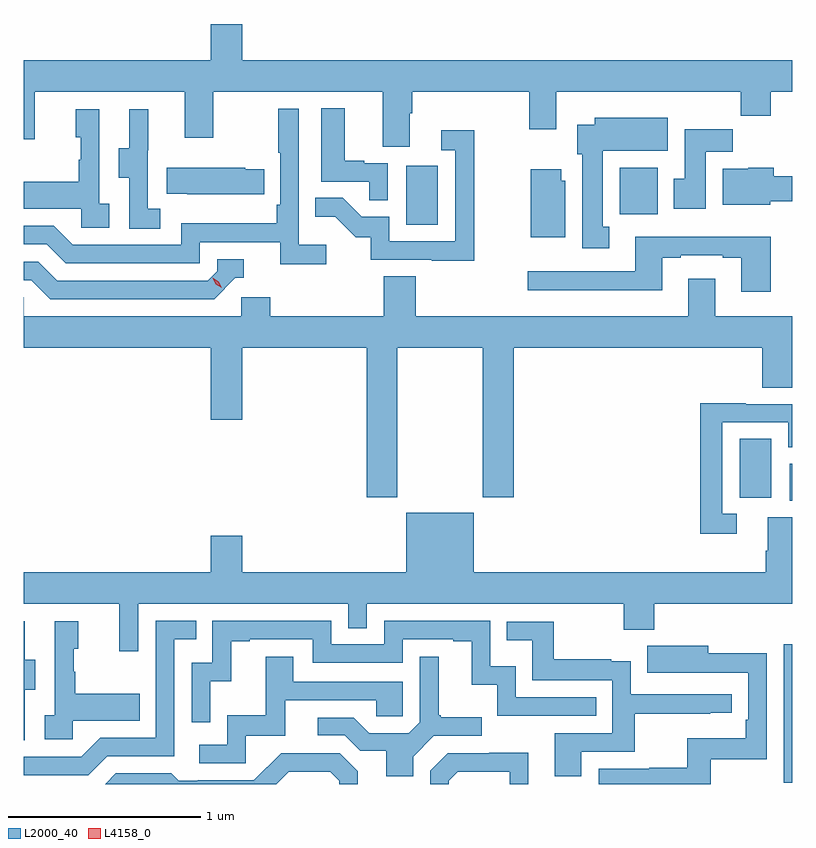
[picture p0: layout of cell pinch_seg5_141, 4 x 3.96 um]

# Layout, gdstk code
import gdstk
lib = gdstk.Library(unit=1e-6, precision=1e-09)
def R(c, l, rs):  # rectangles x0, y0, x1, y1
    for r in rs: c.add(gdstk.rectangle(r[:2], r[2:], *l))
def P(c, l, *ps):  # polygons
    for p in ps: c.add(gdstk.Polygon(p, *l))
L2000_40 = (2000, 40)
L4158_0 = (4158, 0)

pinch_seg5_141 = lib.new_cell('pinch_seg5_141')
R(pinch_seg5_141, L2000_40, [(1019.141,871.812,1019.184,872.533), (1019.172,873.279,1019.184,873.473), (1018.91,873.294,1019.074,873.601), (1017.176,874.716,1017.34,875.023), (1018.286,874.772,1018.483,875.014)])
P(pinch_seg5_141, L2000_40, [(1017.193,875.296),(1017.206,875.296),(1017.206,875.408),(1017.815,875.408),(1017.815,875.214),(1017.955,875.214),(1017.955,875.408),(1018.915,875.408),(1018.915,875.284),(1019.072,875.284),(1019.072,875.408),(1019.184,875.408),(1019.184,875.572),(1016.32,875.572),(1016.32,875.761),(1016.156,875.761),(1016.156,875.572),(1015.184,875.572),(1015.184,875.16),(1015.241,875.16),(1015.241,875.408),(1016.021,875.408),(1016.021,875.169),(1016.169,875.169),(1016.169,875.408),(1017.053,875.408),(1017.053,875.122),(1017.193,875.122)],
  [(1017.078,875.037),(1016.957,875.037),(1016.957,875.05),(1016.854,875.05),(1016.854,875.323),(1016.732,875.323),(1016.732,874.941),(1016.983,874.941),(1016.983,874.843),(1017.078,874.843)],
  [(1016.758,874.612),(1016.616,874.612),(1016.616,875.32),(1016.508,875.32),(1016.508,875.092),(1016.52,875.092),(1016.52,874.819),(1016.5,874.819),(1016.5,874.723),(1016.004,874.723),(1016.004,874.611),(1015.44,874.611),(1015.341,874.71),(1015.184,874.71),(1015.184,874.614),(1015.304,874.614),(1015.403,874.515),(1016.1,874.515),(1016.1,874.626),(1016.519,874.626),(1016.519,874.51),(1016.758,874.51)],
  [(1015.894,874.799),(1015.83,874.799),(1015.83,875.103),(1015.832,875.103),(1015.832,875.317),(1015.733,875.317),(1015.733,875.115),(1015.679,875.115),(1015.679,874.96),(1015.734,874.96),(1015.734,874.696),(1015.894,874.696)],
  [(1015.63,874.826),(1015.578,874.826),(1015.578,875.317),(1015.454,875.317),(1015.454,875.172),(1015.48,875.172),(1015.48,875.054),(1015.47,875.054),(1015.47,874.939),(1015.184,874.939),(1015.184,874.799),(1015.482,874.799),(1015.482,874.701),(1015.63,874.701)],
  [(1018.231,874.706),(1018.198,874.706),(1018.198,875.102),(1018.537,875.102),(1018.537,875.272),(1018.157,875.272),(1018.157,875.236),(1018.064,875.236),(1018.064,875.082),(1018.091,875.082),(1018.091,874.593),(1018.231,874.593)],
  [(1018.735,875.096),(1018.874,875.096),(1018.874,875.214),(1018.625,875.214),(1018.625,874.956),(1018.568,874.956),(1018.568,874.8),(1018.735,874.8)],
  [(1017.53,875.209),(1017.357,875.209),(1017.357,875.103),(1017.429,875.103),(1017.429,874.629),(1017.087,874.629),(1017.087,874.758),(1016.942,874.758),(1016.844,874.856),(1016.701,874.856),(1016.701,874.757),(1016.805,874.757),(1016.912,874.65),(1016.989,874.65),(1016.989,874.533),(1017.307,874.533),(1017.307,874.528),(1017.53,874.528)],
  [(1019.07,874.838),(1019.184,874.838),(1019.184,874.968),(1019.087,874.968),(1019.087,875.014),(1018.956,875.014),(1018.956,875.008),(1018.823,875.008),(1018.823,874.82),(1019.07,874.82)],
  [(1016.435,875.004),(1016.337,875.004),(1016.337,875.014),(1015.927,875.014),(1015.927,874.877),(1016.035,874.877),(1016.035,874.874),(1016.435,874.874)],
  [(1018.003,874.944),(1017.982,874.944),(1017.982,875.005),(1017.824,875.005),(1017.824,874.652),(1018.003,874.652)],
  [(1019.072,874.654),(1018.367,874.654),(1018.367,874.473),(1017.807,874.473),(1017.807,874.376),(1018.507,874.376),(1018.507,874.545),(1018.603,874.545),(1018.603,874.557),(1018.823,874.557),(1018.823,874.545),(1018.919,874.545),(1018.919,874.368),(1019.072,874.368)],
  [(1016.286,874.44),(1016.329,874.44),(1016.329,874.536),(1016.19,874.536),(1016.19,874.473),(1016.142,874.425),(1015.359,874.425),(1015.26,874.524),(1015.184,874.524),(1015.184,874.428),(1015.223,874.428),(1015.322,874.329),(1016.175,874.329)],
  [(1017.129,874.076),(1017.574,874.076),(1017.574,873.297),(1017.734,873.297),(1017.734,874.076),(1019.027,874.076),(1019.027,873.868),(1019.184,873.868),(1019.184,874.24),(1018.783,874.24),(1018.783,874.435),(1018.643,874.435),(1018.643,874.24),(1017.224,874.24),(1017.224,874.448),(1017.059,874.448),(1017.059,874.24),(1016.468,874.24),(1016.468,874.338),(1016.316,874.338),(1016.316,874.24),(1015.185,874.24),(1015.185,874.338),(1015.184,874.338),(1015.184,874.076),(1016.156,874.076),(1016.156,873.702),(1016.32,873.702),(1016.32,874.076),(1016.969,874.076),(1016.969,873.297),(1017.129,873.297)],
  [(1018.894,873.213),(1018.821,873.213),(1018.821,873.687),(1019.163,873.687),(1019.163,873.558),(1019.184,873.558),(1019.184,873.783),(1018.943,873.783),(1018.943,873.788),(1018.705,873.788),(1018.705,873.108),(1018.894,873.108)],
  [(1015.779,872.744),(1016.874,872.744),(1016.874,872.617),(1016.97,872.617),(1016.97,872.744),(1018.306,872.744),(1018.306,872.609),(1018.466,872.609),(1018.466,872.744),(1019.184,872.744),(1019.184,873.194),(1019.057,873.194),(1019.057,873.02),(1019.045,873.02),(1019.045,872.908),(1017.526,872.908),(1017.526,873.217),(1017.176,873.217),(1017.176,872.908),(1016.32,872.908),(1016.32,873.097),(1016.156,873.097),(1016.156,872.908),(1015.184,872.908),(1015.184,872.744),(1015.682,872.744),(1015.682,872.496),(1015.779,872.496)],
  [(1016.154,872.339),(1016.264,872.339),(1016.264,872.547),(1016.359,872.547),(1016.359,872.559),(1016.688,872.559),(1016.688,872.436),(1017.156,872.436),(1017.156,872.559),(1017.419,872.559),(1017.419,872.547),(1017.515,872.547),(1017.515,872.321),(1017.648,872.321),(1017.648,872.16),(1018.163,872.16),(1018.163,872.256),(1017.744,872.256),(1017.744,872.419),(1017.612,872.419),(1017.612,872.655),(1017.06,872.655),(1017.06,872.532),(1016.784,872.532),(1016.784,872.655),(1016.166,872.655),(1016.166,872.436),(1016.058,872.436),(1016.058,872.127),(1016.154,872.127)],
  [(1015.618,871.95),(1015.968,871.95),(1015.968,872.559),(1016.081,872.559),(1016.081,872.655),(1015.872,872.655),(1015.872,872.046),(1015.581,872.046),(1015.482,871.947),(1015.184,871.947),(1015.184,871.851),(1015.519,871.851)],
  [(1015.44,872.135),(1015.787,872.135),(1015.787,872.275),(1015.453,872.275),(1015.453,872.39),(1015.443,872.39),(1015.443,872.508),(1015.468,872.508),(1015.468,872.653),(1015.344,872.653),(1015.344,872.162),(1015.293,872.162),(1015.293,872.037),(1015.44,872.037)],
  [(1015.188,872.296),(1015.243,872.296),(1015.243,872.451),(1015.189,872.451),(1015.189,872.653),(1015.184,872.653),(1015.184,872.032),(1015.188,872.032)],
  [(1018.087,871.974),(1018.364,871.974),(1018.364,872.17),(1018.757,872.17),(1018.757,872.175),(1018.87,872.175),(1018.87,872.271),(1018.344,872.271),(1018.344,872.443),(1018.241,872.443),(1018.241,872.455),(1017.943,872.455),(1017.943,872.649),(1017.697,872.649),(1017.697,872.552),(1017.832,872.552),(1017.832,872.346),(1018.248,872.346),(1018.248,872.07),(1017.947,872.07),(1017.947,871.846),(1018.087,871.846)],
  [(1018.759,871.935),(1019.052,871.935),(1019.052,872.486),(1018.747,872.486),(1018.747,872.524),(1018.429,872.524),(1018.429,872.384),(1018.643,872.384),(1018.643,872.385),(1018.956,872.385),(1018.956,872.14),(1018.943,872.14),(1018.943,872.044),(1018.638,872.044),(1018.638,871.889),(1018.441,871.889),(1018.441,871.884),(1018.176,871.884),(1018.176,871.805),(1018.759,871.805)],
  [(1017.211,871.948),(1017.318,872.055),(1017.568,872.055),(1017.568,872.152),(1017.355,872.152),(1017.355,872.164),(1017.343,872.164),(1017.343,872.467),(1017.246,872.467),(1017.246,872.127),(1017.189,872.07),(1016.983,872.07),(1016.902,872.151),(1016.715,872.151),(1016.715,872.058),(1016.856,872.058),(1016.936,871.978),(1017.071,871.978),(1017.071,871.846),(1017.211,871.846)],
  [(1016.34,872.055),(1016.545,872.055),(1016.545,872.241),(1017.019,872.241),(1017.019,872.157),(1017.156,872.157),(1017.156,872.337),(1016.587,872.337),(1016.587,872.467),(1016.443,872.467),(1016.443,872.164),(1016.244,872.164),(1016.244,872.01),(1016.097,872.01),(1016.097,871.914),(1016.34,871.914)],
  [(1017.396,871.821),(1017.444,871.869),(1017.714,871.869),(1017.714,871.805),(1017.811,871.805),(1017.811,871.967),(1017.606,871.967),(1017.606,871.965),(1017.39,871.965),(1017.3,871.875),(1017.3,871.805),(1017.396,871.805)],
  [(1016.562,871.869),(1016.778,871.869),(1016.826,871.821),(1016.826,871.805),(1016.923,871.805),(1016.923,871.871),(1016.829,871.965),(1016.523,871.965),(1016.382,871.824),(1016.089,871.824),(1016.089,871.821),(1015.99,871.821),(1015.951,871.86),(1015.662,871.86),(1015.607,871.805),(1016.498,871.805)])
P(pinch_seg5_141, L4158_0, [(1016.214,874.388),(1016.183,874.407),(1016.167,874.44),(1016.167,874.44),(1016.168,874.44),(1016.198,874.42),(1016.214,874.388),(1016.214,874.388)])

lib.write_gds('pinch_seg5_141.gds')
